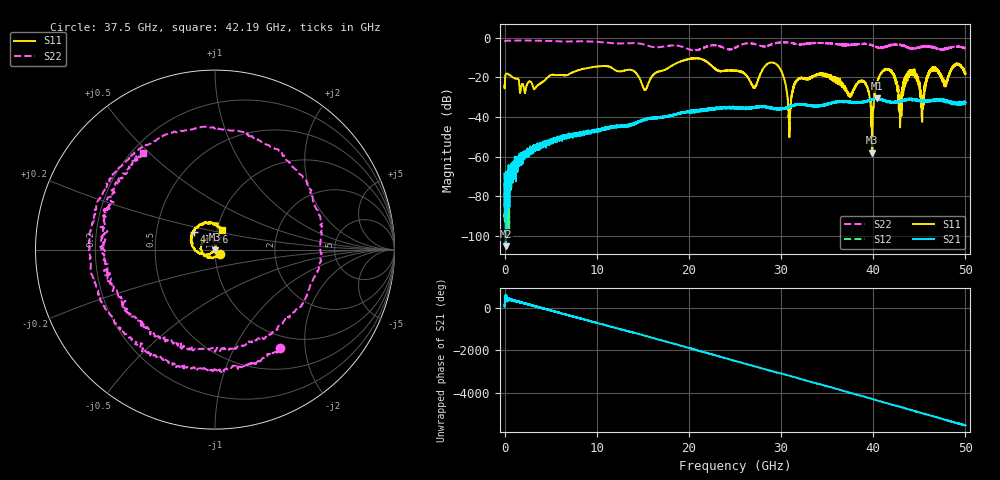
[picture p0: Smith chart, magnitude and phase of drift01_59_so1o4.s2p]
!Created with skrf (http://scikit-rf.org).
# Hz S RI R 50.0
!freq ReS11 ImS11 ReS21 ImS21 ReS12 ImS12 ReS22 ImS22
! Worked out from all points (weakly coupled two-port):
!   10001 points, 300 kHz to 50 GHz, reference 50 ohm
!   highest |S21| = -30.50 dB at 40.43 GHz (marker M1); lowest = -105.3 dB at 120.3 MHz (marker M2)
!   lowest |S11| = -58.1 dB at 39.89 GHz (marker M3), VSWR 1.00, Z = 49.9 + j0.0443 ohm
!   |S11| at or under -10 dB: start of sweep to end of sweep
!   |S22| runs from -6.4 to -1.4 dB; largest |S21 - S12| = 0.0052
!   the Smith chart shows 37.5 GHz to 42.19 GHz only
!   S11 on the Smith chart (normalised r, x): 37.5 GHz: 1.06, -0.05; 41.26 GHz: 0.77, +0.16; 42.19 GHz: 1.05, +0.24
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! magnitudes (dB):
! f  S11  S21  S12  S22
! 300 kHz  -24.1  -68.7  -68.1  -2.1
! 120.3 MHz  -18.5  -105.3  -81.6  -1.5
! 8.335 GHz  -15.9  -48.8  -48.3  -1.8
! 16.67 GHz  -17.1  -40.0  -40.3  -4.8
! 25 GHz  -16.6  -35.2  -35.6  -5.0
! 27.1 GHz  -25.2  -35.3  -35.4  -3.0
! 29.44 GHz  -13.2  -35.9  -36.2  -2.8
! 30.91 GHz  -48.5  -35.0  -34.8  -2.5
! 31.68 GHz  -21.5  -33.7  -33.7  -3.2
! 33.34 GHz  -19.6  -34.5  -34.3  -2.7
! 37.5 GHz  -28.8  -32.5  -32.7  -3.6
! 38.97 GHz  -22.2  -32.4  -32.4  -3.1
! 39.89 GHz  -58.1  -31.2  -31.2  -3.8
! 40.43 GHz  -22.6  -30.5  -30.9  -4.9
! 41.26 GHz  -16.2  -31.8  -31.7  -4.7
! 41.67 GHz  -15.9  -32.0  -32.4  -4.2
! 42.19 GHz  -18.6  -32.4  -32.7  -3.5
! 42.99 GHz  -29.6  -31.7  -32.1  -3.5
! 43.98 GHz  -17.3  -31.2  -31.1  -5.2
! 45.31 GHz  -42.5  -31.8  -31.9  -4.3
! 46.42 GHz  -15.4  -31.5  -31.8  -4.7
! 50 GHz  -17.6  -32.7  -32.7  -5.3
